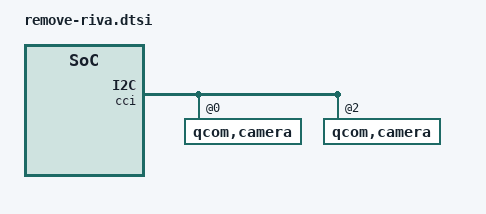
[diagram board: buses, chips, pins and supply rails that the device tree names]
&apps_iommu {
	/delete-property/ qcom,no-aarch64;
};

&soc {
	/delete-node/ snfuse@0xa0128;
	/delete-node/ secbootfuse@0xa41d0;
};

&cci {
	qcom,camera@0 { /delete-property/ qcom,gpio-standby; };
	qcom,camera@2 { /delete-property/ qcom,gpio-reset; };
};

&eeprom0 {
	/delete-property/ qcom,gpio-standby;
};

&eeprom2 {
	/delete-property/ cam_vaf-supply;
	/delete-property/ qcom,gpio-reset;
};


&i2c_2 {
	/delete-node/ aw2013@45;
};
